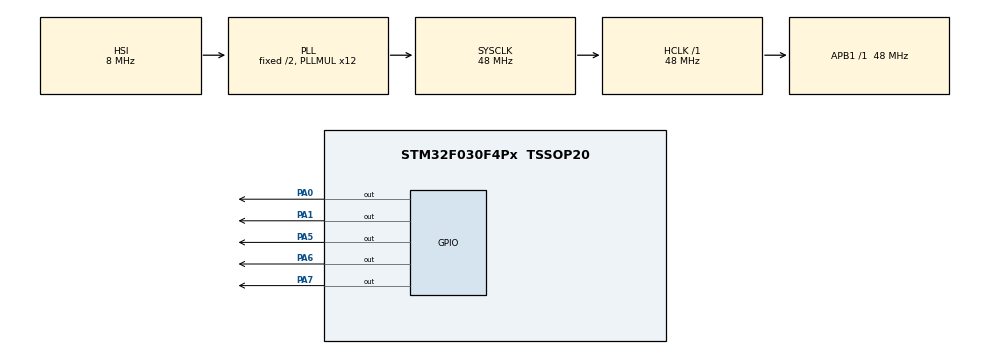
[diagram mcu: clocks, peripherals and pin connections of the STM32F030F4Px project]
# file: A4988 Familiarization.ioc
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Mcu.Family=STM32F0
Mcu.Name=STM32F030F4Px
Mcu.Package=TSSOP20
PA0.Signal=GPIO_Output
PA1.Signal=GPIO_Output
PA13.Mode=Serial_Wire
PA13.Signal=SYS_SWDIO
PA14.Mode=Serial_Wire
PA14.Signal=SYS_SWCLK
PA5.Signal=GPIO_Output
PA6.Signal=GPIO_Output
PA7.Signal=GPIO_Output
ProjectManager.HeapSize=0x200
ProjectManager.StackSize=0x400
ProjectManager.TargetToolchain=SW4STM32
RCC.AHBFreq_Value=48000000
RCC.APB1Freq_Value=48000000
RCC.APB1TimFreq_Value=48000000
RCC.HCLKFreq_Value=48000000
RCC.PLLMUL=RCC_PLL_MUL12
RCC.SYSCLKFreq_VALUE=48000000
RCC.SYSCLKSource=RCC_SYSCLKSOURCE_PLLCLK
board=custom

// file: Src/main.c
/* USER CODE BEGIN Header */
/**
  ******************************************************************************
  * @file           : main.c
  * @brief          : Main program body
  ******************************************************************************
  * @attention
  *
  * <h2><center>&copy; Copyright (c) 2019 STMicroelectronics.
  * All rights reserved.</center></h2>
  *
  * This software component is licensed by ST under BSD 3-Clause license,
  * the "License"; You may not use this file except in compliance with the
  * License. You may obtain a copy of the License at:
  *                        opensource.org/licenses/BSD-3-Clause
  *
  ******************************************************************************
  */
/* USER CODE END Header */

#include "main.h"

/* USER CODE BEGIN Includes */
#include "stdbool.h"
/* USER CODE END Includes */

void SystemClock_Config(void);
static void MX_GPIO_Init(void);

/* USER CODE BEGIN 0 */

void Delay_uS(uint16_t i)
{
	static uint32_t j=0, ij=0;
	for (ij=0;ij<i;ij++)
		for (j=0;j<1;j++);
}

void shiftOut(uint8_t command)
{
	bool MSBFIRST = true;
	uint16_t dataPin = GPIO_PIN_6;
	uint16_t clockPin = GPIO_PIN_5;
	for (int i = 0; i < 8; i++)
	{
		bool output = false;
		if (MSBFIRST)
		{
			output = command & 0b10000000;
			command = command << 1;
		}
		else
		{
			output = command & 0b00000001;
			command = command >> 1;
		}
		HAL_GPIO_WritePin(GPIOA, dataPin, output);
		HAL_GPIO_WritePin(GPIOA, clockPin, SET);
		HAL_Delay(1);
		HAL_GPIO_WritePin(GPIOA, clockPin, RESET);
		HAL_Delay(1);
	}
}

void writeSevenSegment(char character, bool decimal)
{
	static const char supportedChars[34] = {
		'0',
		'1',
		'2',
		'3',
		'4',
		'5',
		'6',
		'7',
		'8',
		'9',
		'a',
		'b',
		'c',
		'd',
		'e',
		'f',
		'g',
		'h',
		'i',
		'j',
		'l',
		'n',
		'o',
		'p',
		'q',
		'r',
		's',
		't',
		'u',
		'y',
		'z',
		'_',
		'-',
		' '
	};

	static const uint8_t displayLEDs[34] = {
		0b10111101,
		0b00010100,
		0b00111011,
		0b10101011,
		0b10000111,
		0b10101110,
		0b10111110,
		0b10001001,
		0b10111111,
		0b10101111,
		0b10011111,
		0b10110110,
		0b00110010,
		0b10110011,
		0b00111110,
		0b00011110,
		0b10101111,
		0b10010111,
		0b10000001,
		0b10110001,
		0b00110100,
		0b10010010,
		0b10110010,
		0b00011111,
		0b10001111,
		0b00010010,
		0b10101110,
		0b00110110,
		0b10110000,
		0b10100111,
		0b00111011,
		0b00100000,
		0b00000010,
		0b00000000
	};

	int charnum = sizeof(supportedChars)/sizeof(supportedChars[0]);
	bool success = false;

	for (int i = 0; i < charnum; i++)
	{
		if (character == supportedChars[i])
		{
			success = true;
			uint8_t returnchar = displayLEDs[i];
			if (decimal)
			{
				returnchar |= 0b01000000;
			}

			HAL_GPIO_WritePin(GPIOA, GPIO_PIN_7, RESET);
			shiftOut(returnchar);
			HAL_GPIO_WritePin(GPIOA, GPIO_PIN_7, SET);
			i = charnum;
		}
	}

	if (!success)
	{
		HAL_GPIO_WritePin(GPIOA, GPIO_PIN_7, RESET);
		shiftOut(0b11111111);
		HAL_GPIO_WritePin(GPIOA, GPIO_PIN_7, SET);
	}

}

/* USER CODE END 0 */

int main(void)
{

  /* MCU Configuration--------------------------------------------------------*/

  /* Reset of all peripherals, Initializes the Flash interface and the Systick. */
  HAL_Init();

  /* Configure the system clock */
  SystemClock_Config();

  /* Initialize all configured peripherals */
  MX_GPIO_Init();
  /* USER CODE BEGIN 2 */
  HAL_GPIO_WritePin(GPIOA, GPIO_PIN_0, RESET);
  /* USER CODE END 2 */

  /* Infinite loop */
  /* USER CODE BEGIN WHILE */
  while (1)
  {
	  uint8_t startCount = 1;
	  writeSevenSegment(startCount + '0', true);
	  HAL_GPIO_WritePin(GPIOA, GPIO_PIN_1, SET);
	  for (int i = 0; i < 200; i++)
	  {
		  HAL_GPIO_WritePin(GPIOA, GPIO_PIN_0, SET);
		  HAL_Delay(10);
		  HAL_GPIO_WritePin(GPIOA, GPIO_PIN_0, RESET);
		  HAL_Delay(10);
	  }
	  writeSevenSegment(startCount + '0', false);

	  startCount++;
	  HAL_Delay(1000);

	  writeSevenSegment(startCount + '0', true);
	  HAL_GPIO_WritePin(GPIOA, GPIO_PIN_1, RESET);
	  for (int i = 0; i < 200; i++)
	  {
		  HAL_GPIO_WritePin(GPIOA, GPIO_PIN_0, SET);
		  HAL_Delay(1);
		  HAL_GPIO_WritePin(GPIOA, GPIO_PIN_0, RESET);
		  HAL_Delay(1);
	  }
	  writeSevenSegment(startCount + '0', false);

	  startCount++;
	  HAL_Delay(1000);

	  writeSevenSegment(startCount + '0', true);
	  HAL_GPIO_WritePin(GPIOA, GPIO_PIN_1, SET);
	  for (int i = 0; i < 200; i++)
	  {
		  HAL_GPIO_WritePin(GPIOA, GPIO_PIN_0, SET);
		  HAL_Delay(1);
		  HAL_GPIO_WritePin(GPIOA, GPIO_PIN_0, RESET);
	  }
	  writeSevenSegment(startCount + '0', false);

	  startCount++;
	  HAL_Delay(1000);

	  writeSevenSegment(startCount + '0', true);
	  HAL_GPIO_WritePin(GPIOA, GPIO_PIN_1, RESET);
	  for (int i = 0; i < 200; i++)
	  {
		  HAL_GPIO_WritePin(GPIOA, GPIO_PIN_0, SET);
		  HAL_Delay(1);
		  HAL_GPIO_WritePin(GPIOA, GPIO_PIN_0, RESET);
	  }
	  writeSevenSegment(startCount + '0', false);

	  HAL_Delay(1000);

    /* USER CODE END WHILE */

  }
}

void SystemClock_Config(void)
{
  RCC_OscInitTypeDef RCC_OscInitStruct = {0};
  RCC_ClkInitTypeDef RCC_ClkInitStruct = {0};

  /** Initializes the CPU, AHB and APB busses clocks
  */
  RCC_OscInitStruct.OscillatorType = RCC_OSCILLATORTYPE_HSI;
  RCC_OscInitStruct.HSIState = RCC_HSI_ON;
  RCC_OscInitStruct.HSICalibrationValue = RCC_HSICALIBRATION_DEFAULT;
  RCC_OscInitStruct.PLL.PLLState = RCC_PLL_ON;
  RCC_OscInitStruct.PLL.PLLSource = RCC_PLLSOURCE_HSI;
  RCC_OscInitStruct.PLL.PLLMUL = RCC_PLL_MUL12;
  RCC_OscInitStruct.PLL.PREDIV = RCC_PREDIV_DIV1;
  if (HAL_RCC_OscConfig(&RCC_OscInitStruct) != HAL_OK)
  {
    Error_Handler();
  }
  /** Initializes the CPU, AHB and APB busses clocks
  */
  RCC_ClkInitStruct.ClockType = RCC_CLOCKTYPE_HCLK|RCC_CLOCKTYPE_SYSCLK
                              |RCC_CLOCKTYPE_PCLK1;
  RCC_ClkInitStruct.SYSCLKSource = RCC_SYSCLKSOURCE_PLLCLK;
  RCC_ClkInitStruct.AHBCLKDivider = RCC_SYSCLK_DIV1;
  RCC_ClkInitStruct.APB1CLKDivider = RCC_HCLK_DIV1;

  if (HAL_RCC_ClockConfig(&RCC_ClkInitStruct, FLASH_LATENCY_1) != HAL_OK)
  {
    Error_Handler();
  }
}

static void MX_GPIO_Init(void)
{
  GPIO_InitTypeDef GPIO_InitStruct = {0};

  /* GPIO Ports Clock Enable */
  __HAL_RCC_GPIOA_CLK_ENABLE();

  /*Configure GPIO pin Output Level */
  HAL_GPIO_WritePin(GPIOA, GPIO_PIN_0|GPIO_PIN_1|GPIO_PIN_5|GPIO_PIN_6
                          |GPIO_PIN_7, GPIO_PIN_RESET);

  /*Configure GPIO pins : PA0 PA1 PA5 PA6
                           PA7 */
  GPIO_InitStruct.Pin = GPIO_PIN_0|GPIO_PIN_1|GPIO_PIN_5|GPIO_PIN_6
                          |GPIO_PIN_7;
  GPIO_InitStruct.Mode = GPIO_MODE_OUTPUT_PP;
  GPIO_InitStruct.Pull = GPIO_NOPULL;
  GPIO_InitStruct.Speed = GPIO_SPEED_FREQ_LOW;
  HAL_GPIO_Init(GPIOA, &GPIO_InitStruct);

}

void Error_Handler(void)
{
}

/************************ (C) COPYRIGHT STMicroelectronics *****END OF FILE****/
